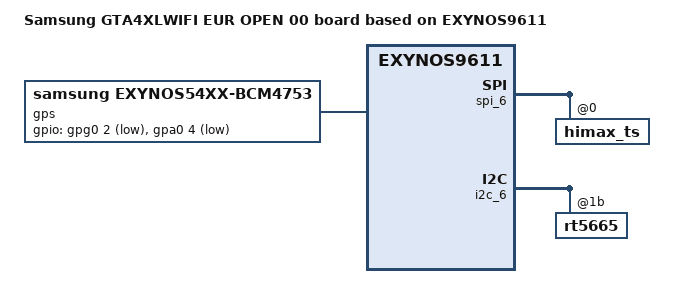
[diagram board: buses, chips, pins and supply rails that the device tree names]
/*
 * SAMSUNG EXYNOS9610 board device tree source
 *
 * Copyright (c) 2018 Samsung Electronics Co., Ltd.
 *		http://www.samsung.com
 *
 * This program is free software; you can redistribute it and/or modify
 * it under the terms of the GNU General Public License version 2 as
 * published by the Free Software Foundation.
 */

/dts-v1/;
/plugin/;

#include "exynos9611-gta4xlwifi_common.dtsi"
#include "battery_data_gta4xlwifi_common.dtsi"
#include "exynos9611-gta4xlwifi_sensorhub_00.dtsi"
#include "exynos9611-gta4xlwifi_eur_open_gpio_00.dtsi"

/ {
	compatible = "samsung,GTA4XLWIFI EUR OPEN 00", "samsung,EXYNOS9611";

	dtbo-hw_rev = <0>;
    dtbo-hw_rev_end = <3>;


	fragment@model {
		target-path = "/";
		__overlay__ {
			#address-cells = <2>;
			#size-cells = <1>;

			model = "Samsung GTA4XLWIFI EUR OPEN 00 board based on EXYNOS9611";

			mif_pdata {
				/* GPIOs for HW REV */
				/* XGPIO26-AP_REV0, XGPIO27-AP_REV1, XGPIO28-AP_REV2, XGPIO29-AP_REV3 */
				gpios = <&gpg3 2 0>, <&gpg3 3 0>, <&gpg3 4 0>, <&gpg3 5 0>;
				pinctrl-names = "default";
			};
			
			gps {
				compatible = "samsung,exynos54xx-bcm4753";
				gpios = <&gpg0 2 0x1
					 &gpa0 4 0xf
					>;
				status = "okay";
			};
		}; /* end of __overlay__ */
	}; /* end of fragment */
}; /* end of root */

&pinctrl_0 {
	earant_det: earant-det {
		samsung,pins ="gpa1-4";
		samsung,pin-function = <0xf>;
		samsung,pin-pud = <0>;
	};
};

&spi_6 {
	himax_ts@0 {
		himax,panel-coords = <0 1200 0 2000>;
		himax,display-coords = <0 1200 0 2000>;
		himax,fw-path = "tsp_himax/hx83102e_gta4xl_old.fw";
	};
};

&i2c_6 {
	rt5665@1b {
		realtek,sar-hs-type = <700>;
		realtek,sar-pb-vth0 = <95>;
		realtek,sar-pb-vth1 = <139>;
		realtek,sar-pb-vth2 = <246>;
		realtek,sar-pb-vth3 = <580>;
	};
};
